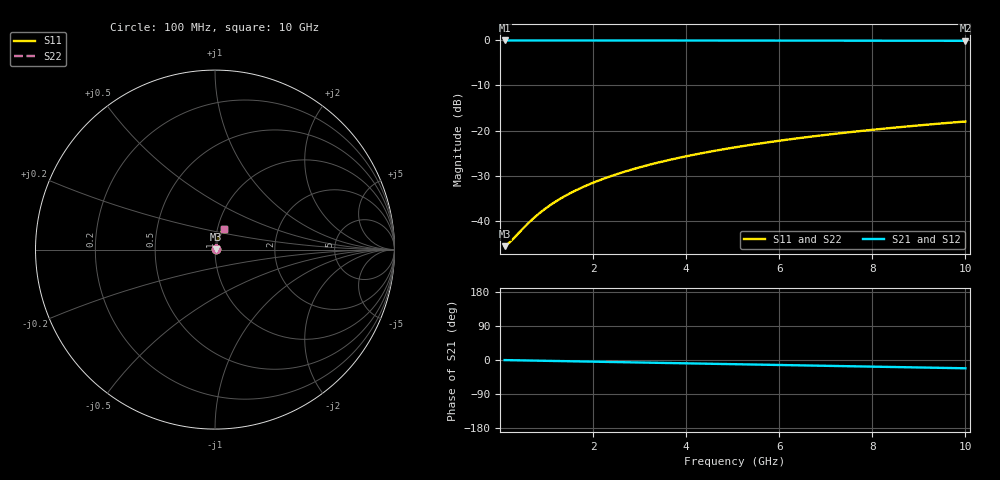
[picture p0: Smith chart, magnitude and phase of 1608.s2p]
# Hz S RI R 50.00
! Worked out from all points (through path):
!   100 points, 100 MHz to 10 GHz, reference 50 ohm
!   highest |S21| = -0.04 dB at 100 MHz (marker M1); lowest = -0.1 dB at 10 GHz (marker M2)
!   group delay of S21, straight-line fit = 6.07 ps
!   lowest |S11| = -45.6 dB at 100 MHz (marker M3), VSWR 1.01, Z = 50.5 + j0.129 ohm
!   |S11| at or under -10 dB: start of sweep to end of sweep
!   |S22| runs from -45.6 to -18.0 dB; largest |S21 - S12| = 0
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1e8  0.00511 0.00128  0.9949 -0.00381  0.9949 -0.00381  0.00511 0.00128
2e8  0.00516 0.00256  0.9948 -0.00762  0.9948 -0.00762  0.00516 0.00256
3e8  0.00521 0.00384  0.9948 -0.0114  0.9948 -0.0114  0.00521 0.00384
5e8  0.00532 0.0064  0.9946 -0.019  0.9946 -0.019  0.00532 0.0064
7e8  0.00547 0.00895  0.9944 -0.0267  0.9944 -0.0267  0.00547 0.00895
8e8  0.00555 0.0102  0.9942 -0.0305  0.9942 -0.0305  0.00555 0.0102
1e9  0.00575 0.0128  0.9939 -0.0381  0.9939 -0.0381  0.00575 0.0128
1.2e9  0.00598 0.0153  0.9935 -0.0457  0.9935 -0.0457  0.00598 0.0153
1.4e9  0.00625 0.0179  0.9931 -0.0533  0.9931 -0.0533  0.00625 0.0179
1.6e9  0.00656 0.0204  0.9926 -0.0609  0.9926 -0.0609  0.00656 0.0204
1.8e9  0.00691 0.0229  0.992 -0.0685  0.992 -0.0685  0.00691 0.0229
2.1e9  0.0075 0.0267  0.991 -0.0799  0.991 -0.0799  0.0075 0.0267
2.5e9  0.00842 0.0318  0.9895 -0.095  0.9895 -0.095  0.00842 0.0318
2.9e9  0.0095 0.0368  0.9877 -0.1101  0.9877 -0.1101  0.0095 0.0368
3.4e9  0.0111 0.0429  0.9852 -0.129  0.9852 -0.129  0.0111 0.0429
4.2e9  0.014 0.0527  0.9802 -0.1589  0.9802 -0.1589  0.014 0.0527
5.1e9  0.0181 0.0634  0.9734 -0.1924  0.9734 -0.1924  0.0181 0.0634
5.9e9  0.0223 0.0727  0.9664 -0.2219  0.9664 -0.2219  0.0223 0.0727
6.7e9  0.027 0.0817  0.9583 -0.251  0.9583 -0.251  0.027 0.0817
7.5e9  0.0323 0.0904  0.9494 -0.2798  0.9494 -0.2798  0.0323 0.0904
8.4e9  0.0389 0.0997  0.9381 -0.3117  0.9381 -0.3117  0.0389 0.0997
1e10  0.052 0.115  0.9154 -0.3672  0.9154 -0.3672  0.052 0.115
